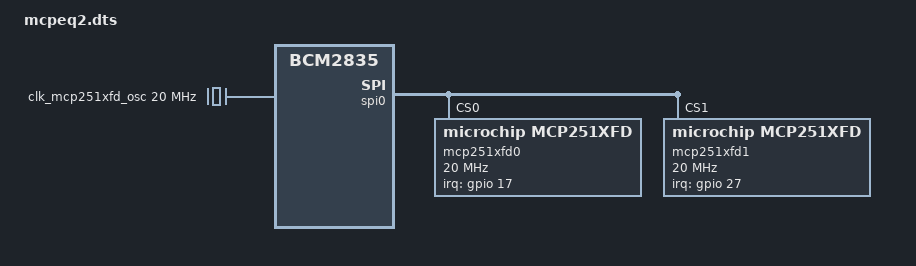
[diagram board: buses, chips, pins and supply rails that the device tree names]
// SPDX-License-Identifier: (GPL-2.0 OR MIT)

/dts-v1/;
/plugin/;

/ {
    compatible = "brcm,bcm2835";

    /* REMOVE spidev completely */
    fragment@0 {
        target = <&spidev0>;
        __overlay__ {
            status = "disabled";
        };
    };

    fragment@1 {
        target = <&spidev1>;
        __overlay__ {
            status = "disabled";
        };
    };

    /* IRQ pinctrl blocks */
    fragment@2 {
        target = <&gpio>;
        __overlay__ {
            mcp251xfd0_irq_pins: mcp251xfd0_irq_pins {
                brcm,pins = <17>;
                brcm,function = <0>;
            };
        };
    };

    fragment@3 {
        target = <&gpio>;
        __overlay__ {
            mcp251xfd1_irq_pins: mcp251xfd1_irq_pins {
                brcm,pins = <27>;
                brcm,function = <0>;
            };
        };
    };

    /* Oscillator */
    fragment@4 {
        target-path = "/clocks";
        __overlay__ {
            clk_mcp251xfd_osc: mcp251xfd-osc {
                #clock-cells = <0>;
                compatible = "fixed-clock";
                clock-frequency = <20000000>;
            };
        };
    };

    /* SPI0 overlay with correct cs-gpios */
    fragment@5 {
        target = <&spi0>;
        __overlay__ {
            status = "okay";
            #address-cells = <1>;
            #size-cells = <0>;

            /* CAN0 */
            mcp251xfd0: mcp251xfd@0 {
                compatible = "microchip,mcp251xfd";
                reg = <0>;
                cs-gpios = <&gpio 24 0>;
                pinctrl-names = "default";
                pinctrl-0 = <&mcp251xfd0_irq_pins>;
                spi-max-frequency = <20000000>;
                interrupt-parent = <&gpio>;
                interrupts = <17 8>;
                clocks = <&clk_mcp251xfd_osc>;
            };

            /* CAN1 */
            mcp251xfd1: mcp251xfd@1 {
                compatible = "microchip,mcp251xfd";
                reg = <1>;
                cs-gpios = <&gpio 26 0>;
                pinctrl-names = "default";
                pinctrl-0 = <&mcp251xfd1_irq_pins>;
                spi-max-frequency = <20000000>;
                interrupt-parent = <&gpio>;
                interrupts = <27 8>;
                clocks = <&clk_mcp251xfd_osc>;
            };
        };
    };

    __overrides__ {
        can0 = <&mcp251xfd0>, "status=okay";
        can1 = <&mcp251xfd1>, "status=okay";
        oscillator = <&clk_mcp251xfd_osc>, "clock-frequency:0";
    };
};
